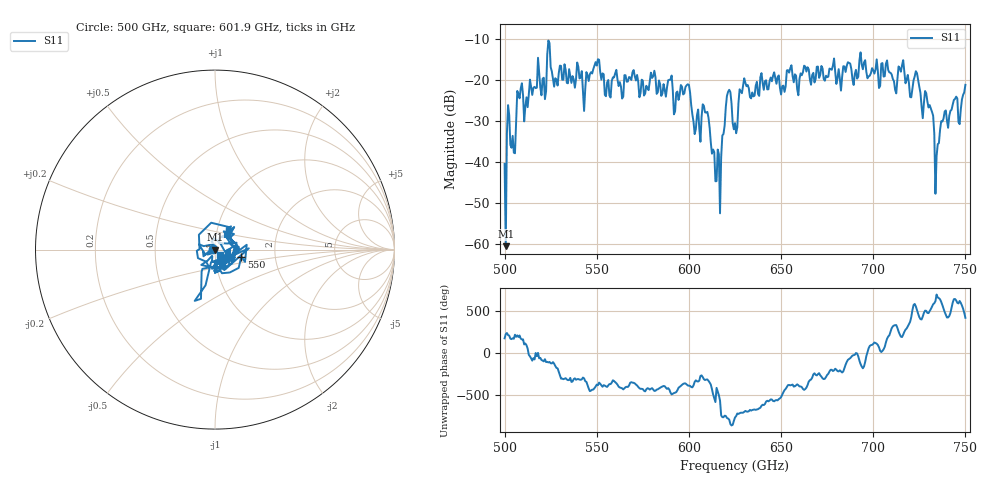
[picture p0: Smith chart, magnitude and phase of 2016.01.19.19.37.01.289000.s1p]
!Created with skrf (http://scikit-rf.org).
# GHz S RI R 50.0
!freq ReS11 ImS11
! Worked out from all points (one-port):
!   401 points, 500 GHz to 750 GHz, reference 50 ohm
!   lowest |S11| = -60.6 dB at 500.6 GHz (marker M1), VSWR 1.00, Z = 49.9 - j0.0663 ohm
!   |S11| at or under -10 dB: start of sweep to end of sweep
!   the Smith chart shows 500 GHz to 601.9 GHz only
!   S11 on the Smith chart (normalised r, x): 500 GHz: 0.98, +0.00; 550 GHz: 1.34, -0.11; 601.9 GHz: 1.05, -0.06
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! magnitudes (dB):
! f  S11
! 500 GHz  -40.4
! 500.6 GHz  -60.6
! 502.5 GHz  -28.5
! 505 GHz  -37.7
! 508.1 GHz  -24.4
! 521.2 GHz  -19.4
! 524.4 GHz  -10.9
! 527.5 GHz  -19.5
! 531.2 GHz  -19.9
! 543.8 GHz  -22.1
! 550 GHz  -16.4
! 562.5 GHz  -20.4
! 580.6 GHz  -19.0
! 593.8 GHz  -22.8
! 599.4 GHz  -21.0
! 601.9 GHz  -28.4
! 609.4 GHz  -27.9
! 615.6 GHz  -36.9
! 621.2 GHz  -22.8
! 625 GHz  -30.5
! 630.6 GHz  -20.6
! 656.2 GHz  -18.9
! 687.5 GHz  -15.9
! 718.8 GHz  -18.7
! 729.4 GHz  -25.2
! 734.4 GHz  -38.5
! 738.1 GHz  -29.4
! 750 GHz  -21.1
